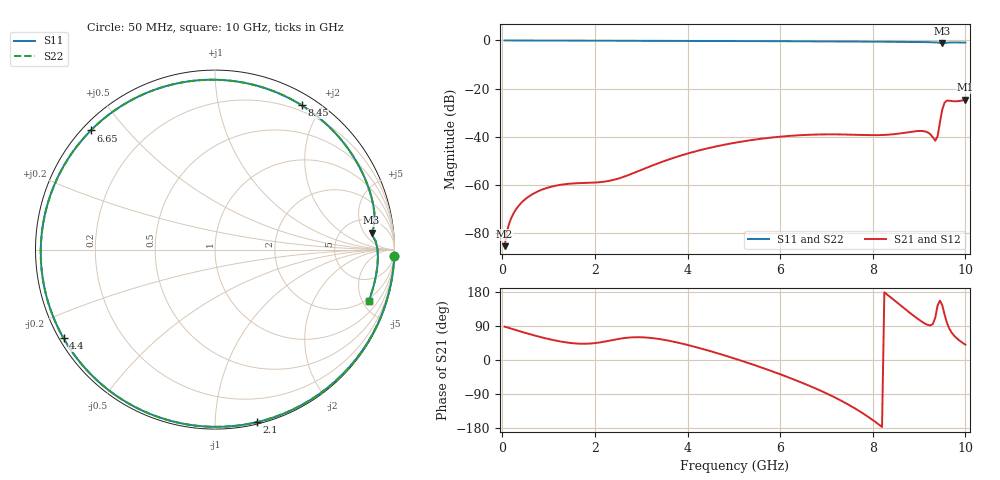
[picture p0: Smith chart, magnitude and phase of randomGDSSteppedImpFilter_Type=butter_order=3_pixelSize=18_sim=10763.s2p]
! freq	dB(S11)	phase(S11)	dB(S12)	phase(S12)
!  dB(S21)	phase(S21)	dB(S22)	phase(S22)
!S-par simulation data
#  GHz  S  DB  R 50
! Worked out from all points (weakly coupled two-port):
!   200 points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, 50 MHz to 10 GHz, reference 50 ohm
!   highest |S21| = -24.63 dB at 10 GHz (marker M1); lowest = -85.4 dB at 50 MHz (marker M2)
!   lowest |S11| = -1.1 dB at 9.5 GHz (marker M3), VSWR 15.29, Z = 460 + j373 ohm
!   |S11| at or under -10 dB: nowhere
!   |S22| runs from -1.1 to 0.0 dB; largest |S21 - S12| = 0
!   S11 on the Smith chart (normalised r, x): 50 MHz: 1, -60; 2.1 GHz: 0.01, -1.27; 4.4 GHz: 0.01, -0.27; 6.65 GHz: 0.02, +0.40; 8.45 GHz: 0.13, +1.76; 10 GHz: 1.80, -5.58
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0.05  -0.00 -1.9  -85.40 88.1  -85.40 88.1  -0.00 -1.9
0.1  -0.01 -3.8  -79.40 86.2  -79.40 86.2  -0.01 -3.8
0.3  -0.01 -11.4  -70.00 78.7  -70.00 78.7  -0.01 -11.4
0.6  -0.03 -22.7  -64.43 67.9  -64.43 67.9  -0.03 -22.7
1.1  -0.05 -41.2  -60.52 52.6  -60.52 52.6  -0.05 -41.2
1.75  -0.08 -64.4  -59.16 42.9  -59.16 42.9  -0.08 -64.4
2.1  -0.09 -76.4  -58.84 46.2  -58.84 46.2  -0.09 -76.4
3.4  -0.15 -118.7  -50.74 55.2  -50.74 55.2  -0.15 -118.7
4.4  -0.20 -149.6  -44.94 26.6  -44.94 26.6  -0.20 -149.6
5.05  -0.24 -169.8  -42.37 2.5  -42.37 2.5  -0.24 -169.8
5.85  -0.29 164.3  -40.23 -30.8  -40.23 -30.8  -0.29 164.4
6.65  -0.36 136.2  -39.14 -69.0  -39.14 -69.0  -0.36 136.2
6.7  -0.37 134.3  -39.10 -71.7  -39.10 -71.7  -0.37 134.3
7.6  -0.46 98.1  -39.15 -126.6  -39.15 -126.6  -0.46 98.2
8.35  -0.54 63.8  -39.10 168.9  -39.10 168.9  -0.54 63.9
8.45  -0.56 59.0  -38.93 159.1  -38.93 159.1  -0.56 59.1
9.1  -0.67 26.3  -37.67 98.1  -37.67 98.1  -0.67 26.4
9.35  -0.80 13.0  -41.61 112.1  -41.61 112.1  -0.80 13.1
9.4  -0.87 10.4  -39.78 143.9  -39.78 143.9  -0.87 10.5
9.5  -1.14 6.1  -28.75 144.5  -28.75 144.5  -1.13 6.2
9.6  -0.95 2.9  -24.99 98.6  -24.99 98.6  -0.95 3.0
10  -0.88 -18.5  -24.63 40.3  -24.63 40.3  -0.89 -18.4
